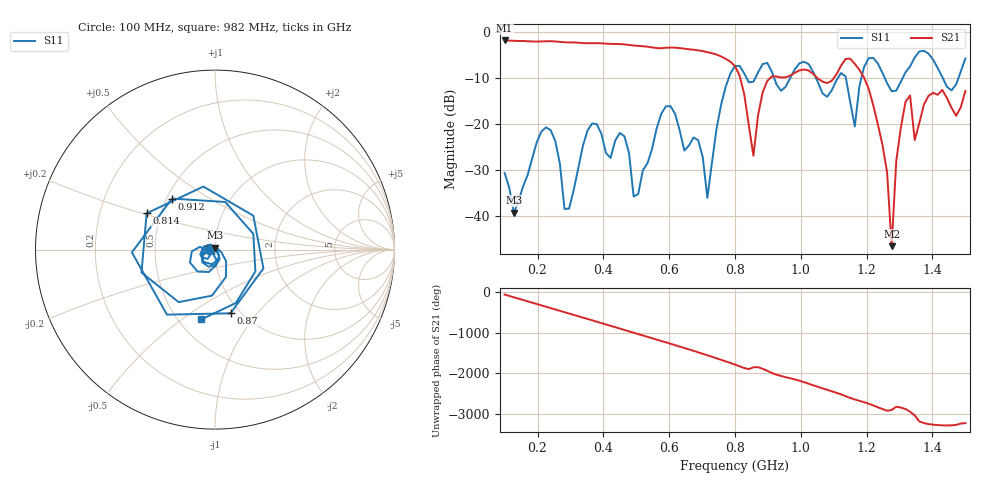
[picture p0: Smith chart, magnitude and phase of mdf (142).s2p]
! NanoVNA-App
! Date: 2025-09-26 09:40:50
! Start: 100MHz Stop: 1,5GHz Points: 101
! S-Parameter data: F S11 S21 S12 S22
# Hz S RI R 50
!  Frequency  S11_Real  S11_Imag  S21_Real  S21_Imag  S12_Real  S12_Imag  S22_Real  S22_Imag
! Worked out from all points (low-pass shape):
!   101 points, 100 MHz to 1.5 GHz, reference 50 ohm
!   highest |S21| = -1.79 dB at 100 MHz (marker M1); lowest = -46.6 dB at 1.276 GHz (marker M2)
!   |S21| within 3 dB of the highest: start of sweep to 740.6 MHz
!   lowest |S11| = -39.2 dB at 128 MHz (marker M3), VSWR 1.02, Z = 50.3 + j1.06 ohm
!   |S11| at or under -10 dB: start of sweep to 780.9 MHz; 1.046 GHz to 1.112 GHz (65.95 MHz wide, 6.11 % of centre); 1.255 GHz to 1.309 GHz (53.92 MHz wide, 4.21 % of centre)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
!   S12 and S22 are empty: the file has one direction only
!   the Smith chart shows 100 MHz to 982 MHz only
!   S11 on the Smith chart (normalised r, x): 100 MHz: 0.94, -0.01; 814 MHz: 0.42, +0.21; 870 MHz: 0.90, -0.74; 912 MHz: 0.53, +0.35; 982 MHz: 0.64, -0.59
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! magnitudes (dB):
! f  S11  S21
! 100 MHz  -30.6  -1.8
! 128 MHz  -39.2  -1.9
! 212 MHz  -21.6  -2.0
! 282 MHz  -38.5  -2.2
! 338 MHz  -24.7  -2.4
! 464 MHz  -22.6  -2.6
! 492 MHz  -35.7  -2.9
! 576 MHz  -17.8  -3.5
! 716 MHz  -36.0  -4.3
! 800 MHz  -7.3  -7.4
! 814 MHz  -7.3  -9.4
! 856 MHz  -10.8  -26.9
! 870 MHz  -8.7  -18.1
! 912 MHz  -8.6  -9.6
! 982 MHz  -8.0  -8.8
! 1.038 GHz  -8.7  -9.1
! 1.164 GHz  -20.5  -6.9
! 1.192 GHz  -7.6  -9.8
! 1.262 GHz  -11.1  -30.4
! 1.276 GHz  -12.9  -46.6
! 1.318 GHz  -8.7  -15.1
! 1.5 GHz  -5.7  -12.8
